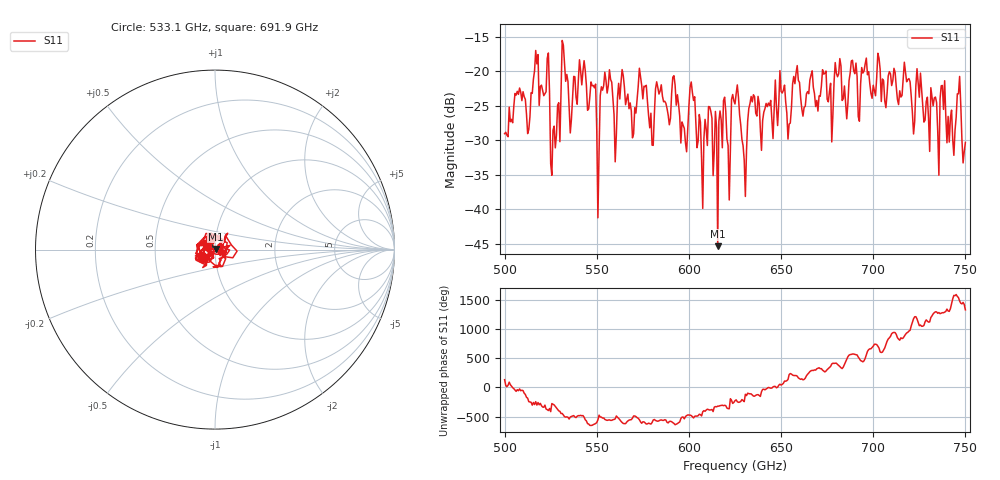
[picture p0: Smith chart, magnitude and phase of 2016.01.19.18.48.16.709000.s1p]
!Created with skrf (http://scikit-rf.org).
# GHz S RI R 50.0
!freq ReS11 ImS11
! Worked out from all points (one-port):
!   401 points, 500 GHz to 750 GHz, reference 50 ohm
!   lowest |S11| = -45.4 dB at 615.6 GHz (marker M1), VSWR 1.01, Z = 50.4 + j0.339 ohm
!   |S11| at or under -10 dB: start of sweep to end of sweep
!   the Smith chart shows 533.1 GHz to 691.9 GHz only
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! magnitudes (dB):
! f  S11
! 500 GHz  -29.1
! 506.9 GHz  -22.9
! 513.1 GHz  -28.5
! 516.9 GHz  -17.0
! 523.1 GHz  -18.1
! 526.2 GHz  -28.6
! 531.2 GHz  -15.6
! 548.1 GHz  -22.1
! 551.2 GHz  -31.7
! 553.8 GHz  -22.1
! 560 GHz  -33.2
! 562.5 GHz  -24.0
! 570 GHz  -29.1
! 574.4 GHz  -22.1
! 579.4 GHz  -26.1
! 583.1 GHz  -22.4
! 593.8 GHz  -23.4
! 615.6 GHz  -45.4
! 621.9 GHz  -38.7
! 625 GHz  -24.8
! 630 GHz  -32.9
! 634.4 GHz  -24.5
! 656.2 GHz  -21.9
! 687.5 GHz  -20.3
! 718.8 GHz  -21.2
! 742.5 GHz  -25.7
! 746.2 GHz  -23.3
! 750 GHz  -30.3
